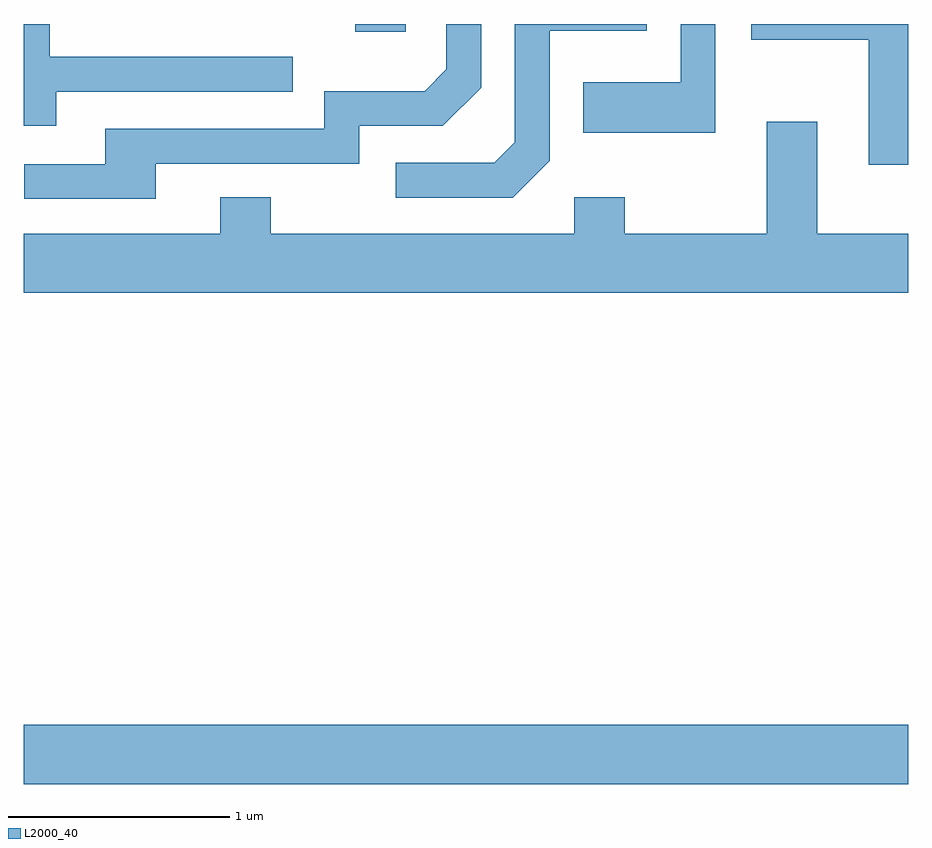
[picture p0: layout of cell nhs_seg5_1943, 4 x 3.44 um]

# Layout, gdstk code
import gdstk
lib = gdstk.Library(unit=1e-6, precision=1e-09)
def R(c, l, rs):  # rectangles x0, y0, x1, y1
    for r in rs: c.add(gdstk.rectangle(r[:2], r[2:], *l))
def P(c, l, *ps):  # polygons
    for p in ps: c.add(gdstk.Polygon(p, *l))
L2000_40 = (2000, 40)

nhs_seg5_1943 = lib.new_cell('nhs_seg5_1943')
R(nhs_seg5_1943, L2000_40, [(243.611,1394.636,247.611,1394.904), (245.111,1398.036,245.339,1398.072)])
P(nhs_seg5_1943, L2000_40, [(246.739,1398.072),(246.581,1398.072),(246.581,1397.809),(246.141,1397.809),(246.141,1397.581),(246.739,1397.581)],
  [(243.759,1397.766),(244.828,1397.766),(244.828,1397.924),(243.729,1397.924),(243.729,1398.072),(243.611,1398.072),(243.611,1397.611),(243.759,1397.611)],
  [(247.611,1398.072),(246.901,1398.072),(246.901,1398.001),(247.431,1398.001),(247.431,1397.436),(247.611,1397.436)],
  [(245.989,1397.454),(245.989,1398.041),(246.429,1398.041),(246.429,1398.072),(245.831,1398.072),(245.831,1397.537),(245.739,1397.444),(245.293,1397.444),(245.293,1397.286),(245.822,1397.286)],
  [(244.209,1397.441),(245.129,1397.441),(245.129,1397.611),(245.507,1397.611),(245.679,1397.784),(245.679,1398.072),(245.521,1398.072),(245.521,1397.867),(245.424,1397.769),(244.971,1397.769),(244.971,1397.599),(243.981,1397.599),(243.981,1397.439),(243.613,1397.439),(243.613,1397.281),(244.209,1397.281)],
  [(247.611,1397.124),(247.199,1397.124),(247.199,1397.629),(246.971,1397.629),(246.971,1397.124),(246.329,1397.124),(246.329,1397.289),(246.101,1397.289),(246.101,1397.124),(244.729,1397.124),(244.729,1397.289),(244.501,1397.289),(244.501,1397.124),(243.611,1397.124),(243.611,1396.856),(247.611,1396.856)])

lib.write_gds('nhs_seg5_1943.gds')
